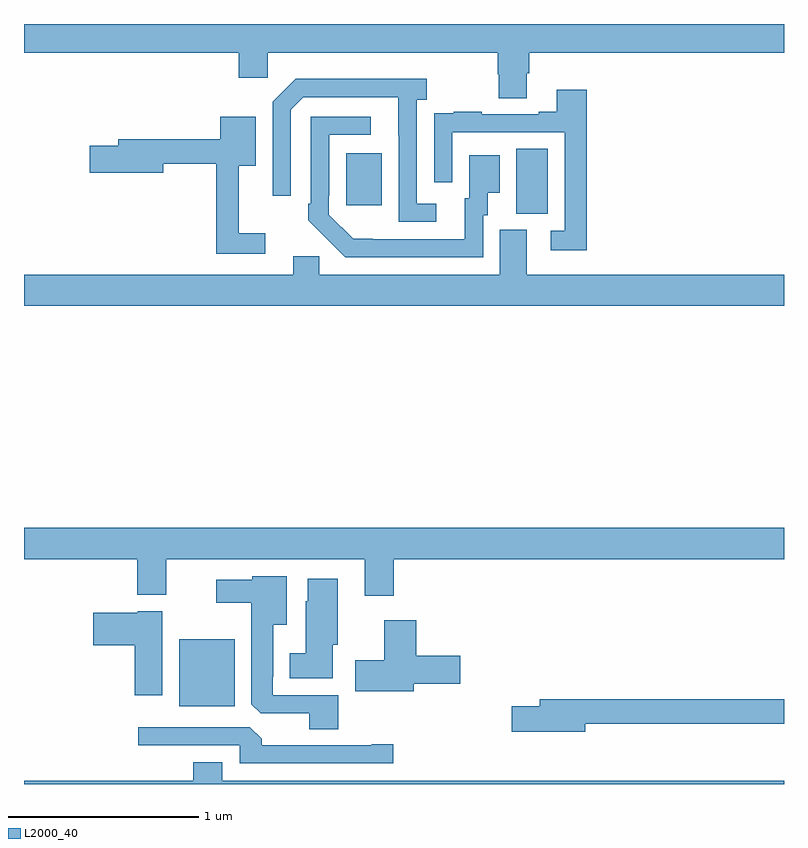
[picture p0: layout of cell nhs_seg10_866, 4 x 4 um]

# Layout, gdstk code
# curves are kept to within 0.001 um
import gdstk
lib = gdstk.Library(unit=1e-6, precision=1e-09)
def R(c, l, rs):  # rectangles x0, y0, x1, y1
    for r in rs: c.add(gdstk.rectangle(r[:2], r[2:], *l))
def P(c, l, *ps):  # polygons
    for p in ps: c.add(gdstk.Polygon(p, *l))
L2000_40 = (2000, 40)

nhs_seg10_866 = lib.new_cell('nhs_seg10_866')
R(nhs_seg10_866, L2000_40, [(155.816,1264.91,156.109,1265.263), (157.592,1267.501,157.756,1267.844), (156.695,1267.545,156.883,1267.819)])
P(nhs_seg10_866, L2000_40, [(157.645,1268.242),(157.658,1268.242),(157.658,1268.348),(159,1268.348),(159,1268.5),(155,1268.5),(155,1268.348),(156.131,1268.348),(156.131,1268.217),(156.282,1268.217),(156.282,1268.348),(157.493,1268.348),(157.493,1268.235),(157.498,1268.235),(157.498,1268.11),(157.645,1268.11)],
  [(157.171,1267.554),(157.068,1267.554),(157.068,1268.102),(157.12,1268.102),(157.12,1268.212),(156.43,1268.212),(156.309,1268.091),(156.309,1267.596),(156.405,1267.596),(156.405,1268.049),(156.471,1268.115),(156.971,1268.115),(156.972,1267.458),(157.171,1267.458)],
  [(157.961,1268.155),(157.805,1268.155),(157.805,1268.038),(157.709,1268.038),(157.709,1268.025),(157.409,1268.025),(157.409,1268.038),(157.261,1268.038),(157.261,1268.031),(157.159,1268.031),(157.159,1267.922),(157.158,1267.922),(157.158,1267.668),(157.254,1267.668),(157.254,1267.929),(157.845,1267.929),(157.845,1267.413),(157.773,1267.413),(157.773,1267.308),(157.961,1267.308)],
  [(157.416,1267.494),(157.441,1267.494),(157.441,1267.613),(157.504,1267.613),(157.504,1267.81),(157.343,1267.81),(157.343,1267.584),(157.319,1267.584),(157.319,1267.368),(156.732,1267.369),(156.603,1267.497),(156.603,1267.597),(156.606,1267.597),(156.606,1267.917),(156.826,1267.917),(156.826,1268.013),(156.51,1268.013),(156.51,1267.555),(156.495,1267.555),(156.495,1267.467),(156.692,1267.272),(157.416,1267.272)],
  [(156.271,1267.399),(156.131,1267.399),(156.131,1267.754),(156.22,1267.754),(156.22,1268.011),(156.032,1268.011),(156.032,1267.894),(155.495,1267.894),(155.495,1267.86),(155.346,1267.86),(155.346,1267.718),(155.734,1267.718),(155.734,1267.765),(156.013,1267.765),(156.013,1267.29),(156.271,1267.29)],
  [(159,1267.18),(157.645,1267.18),(157.645,1267.416),(157.505,1267.416),(157.505,1267.18),(156.555,1267.18),(156.555,1267.278),(156.416,1267.278),(156.416,1267.18),(155,1267.18),(155,1267.016),(159,1267.016)],
  [(156.947,1265.684),(159,1265.684),(159,1265.848),(155,1265.848),(155,1265.684),(155.597,1265.684),(155.597,1265.495),(155.749,1265.495),(155.749,1265.684),(156.794,1265.684),(156.794,1265.49),(156.947,1265.49)],
  [(156.653,1264.968),(156.309,1264.968),(156.309,1265.065),(156.313,1265.065),(156.313,1265.339),(156.382,1265.339),(156.382,1265.593),(156.201,1265.593),(156.201,1265.575),(156.012,1265.575),(156.012,1265.453),(156.197,1265.453),(156.197,1264.921),(156.246,1264.872),(156.5,1264.872),(156.5,1264.789),(156.653,1264.789)],
  [(156.625,1265.232),(156.652,1265.232),(156.652,1265.581),(156.494,1265.581),(156.494,1265.463),(156.482,1265.463),(156.482,1265.188),(156.398,1265.188),(156.398,1265.057),(156.625,1265.057)],
  [(155.728,1265.41),(155.598,1265.41),(155.598,1265.401),(155.364,1265.401),(155.364,1265.231),(155.582,1265.231),(155.582,1264.968),(155.728,1264.968)],
  [(157.051,1265.027),(157.297,1265.027),(157.297,1265.174),(157.064,1265.174),(157.064,1265.362),(156.896,1265.362),(156.896,1265.151),(156.744,1265.151),(156.744,1264.988),(157.051,1264.988)],
  [(157.954,1264.818),(159,1264.818),(159,1264.946),(157.715,1264.946),(157.715,1264.91),(157.566,1264.91),(157.566,1264.775),(157.954,1264.775)],
  [(156.943,1264.709),(156.83,1264.709),(156.83,1264.704),(156.251,1264.704),(156.251,1264.738),(156.189,1264.8),(155.601,1264.8),(155.601,1264.704),(156.135,1264.704),(156.135,1264.608),(156.943,1264.608)],
  [(159,1264.516),(156.043,1264.516),(156.043,1264.615),(155.891,1264.615),(155.891,1264.516),(155,1264.516),(155,1264.5),(159,1264.5)])

lib.write_gds('nhs_seg10_866.gds')
